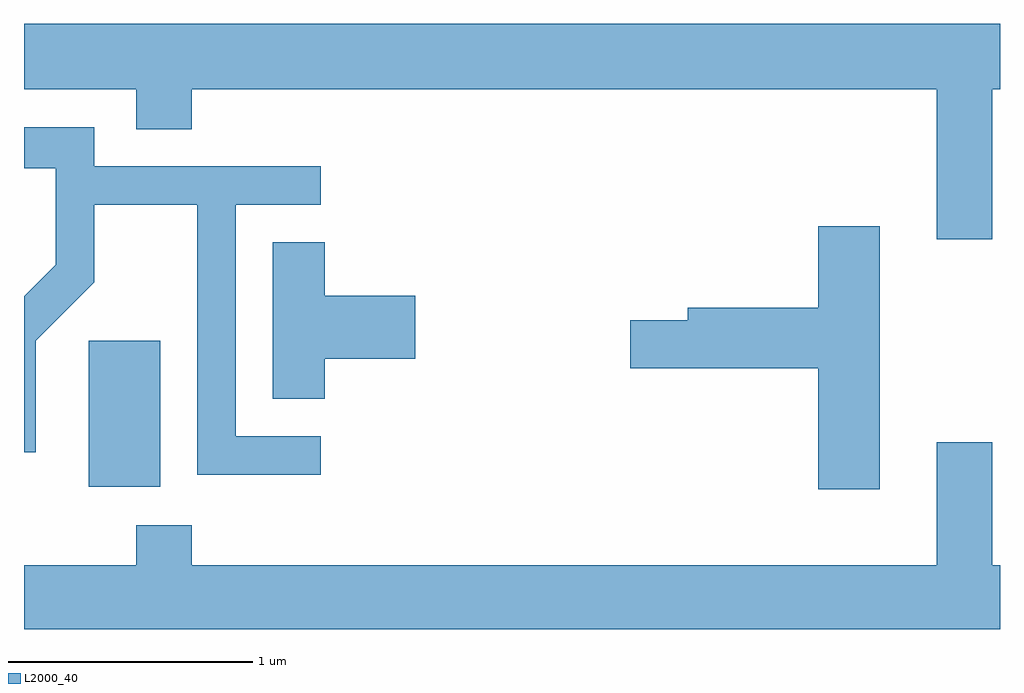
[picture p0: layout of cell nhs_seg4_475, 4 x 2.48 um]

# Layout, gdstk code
import gdstk
lib = gdstk.Library(unit=1e-6, precision=1e-09)
def R(c, l, rs):  # rectangles x0, y0, x1, y1
    for r in rs: c.add(gdstk.rectangle(r[:2], r[2:], *l))
def P(c, l, *ps):  # polygons
    for p in ps: c.add(gdstk.Polygon(p, *l))
L2000_40 = (2000, 40)

nhs_seg4_475 = lib.new_cell('nhs_seg4_475')
R(nhs_seg4_475, L2000_40, [(197.876,1388.566,198.169,1389.164)])
P(nhs_seg4_475, L2000_40, [(201.579,1390.196),(201.611,1390.196),(201.611,1390.464),(197.611,1390.464),(197.611,1390.196),(198.071,1390.196),(198.071,1390.031),(198.299,1390.031),(198.299,1390.196),(201.351,1390.196),(201.351,1389.581),(201.579,1389.581)],
  [(198.828,1388.774),(198.479,1388.774),(198.479,1389.721),(198.828,1389.721),(198.828,1389.879),(197.899,1389.879),(197.899,1390.039),(197.611,1390.039),(197.611,1389.871),(197.741,1389.871),(197.741,1389.477),(197.611,1389.347),(197.611,1388.708),(197.659,1388.708),(197.659,1389.164),(197.899,1389.404),(197.899,1389.721),(198.321,1389.721),(198.321,1388.616),(198.828,1388.616)],
  [(201.119,1389.634),(200.866,1389.634),(200.866,1389.299),(200.331,1389.299),(200.331,1389.249),(200.096,1389.249),(200.096,1389.051),(200.866,1389.051),(200.866,1388.556),(201.119,1388.556)],
  [(198.844,1389.091),(199.214,1389.091),(199.214,1389.349),(198.844,1389.349),(198.844,1389.569),(198.631,1389.569),(198.631,1388.926),(198.844,1388.926)],
  [(201.611,1388.244),(201.579,1388.244),(201.579,1388.749),(201.351,1388.749),(201.351,1388.244),(198.299,1388.244),(198.299,1388.409),(198.071,1388.409),(198.071,1388.244),(197.611,1388.244),(197.611,1387.982),(201.611,1387.982)])

lib.write_gds('nhs_seg4_475.gds')
